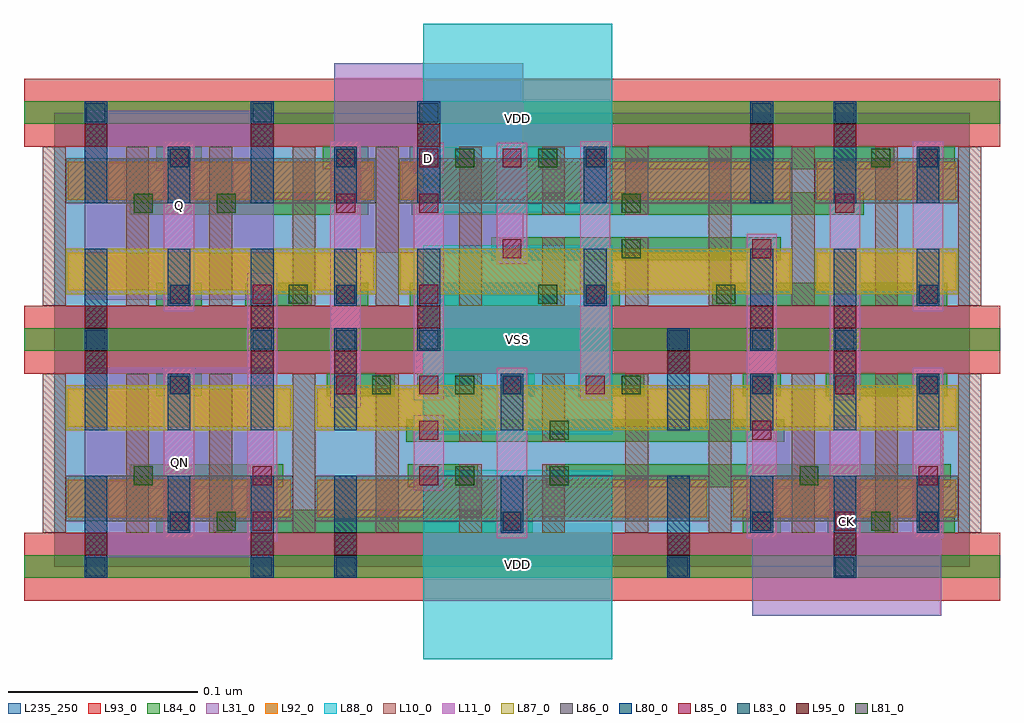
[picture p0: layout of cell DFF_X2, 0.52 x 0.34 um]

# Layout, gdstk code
import gdstk
lib = gdstk.Library(unit=1e-6, precision=1e-09)
def R(c, l, rs):  # rectangles x0, y0, x1, y1
    for r in rs: c.add(gdstk.rectangle(r[:2], r[2:], *l))
def A(c, l, x, y, w, h, nx, ny, dx, dy):  # array of equal rectangles
    R(c, l, [(x+i*dx, y+j*dy, x+i*dx+w, y+j*dy+h) for i in range(nx) for j in range(ny)])
L10_0 = (10, 0)
L11_0 = (11, 0)
L31_0 = (31, 0)
L80_0 = (80, 0)
L81_0 = (81, 0)
L83_0 = (83, 0)
L84_0 = (84, 0)
L85_0 = (85, 0)
L86_0 = (86, 0)
L87_0 = (87, 0)
L88_0 = (88, 0)
L92_0 = (92, 0)
L93_0 = (93, 0)
L95_0 = (95, 0)
L235_250 = (235, 250)

dff_x2 = lib.new_cell('DFF_X2')
A(dff_x2, L10_0, -0.006, 0.018, 0.012, 0.084, 5, 1, 0.044, 0)
A(dff_x2, L10_0, 0.302, 0.018, 0.012, 0.084, 5, 1, 0.044, 0)
A(dff_x2, L10_0, -0.006, 0.138, 0.012, 0.084, 6, 1, 0.044, 0)
A(dff_x2, L10_0, 0.346, 0.138, 0.012, 0.084, 4, 1, 0.044, 0)
R(dff_x2, L10_0, [(0.214,0.018,0.226,0.054), (0.258,0.018,0.27,0.054), (0.214,0.066,0.226,0.102), (0.258,0.066,0.27,0.102), (0.258,0.138,0.27,0.174), (0.302,0.138,0.314,0.174), (0.258,0.186,0.27,0.222), (0.302,0.186,0.314,0.222)])
R(dff_x2, L11_0, [(0.102,0.013,0.118,0.155), (0.058,0.015,0.074,0.105), (0.234,0.015,0.25,0.105), (0.366,0.015,0.382,0.176), (0.41,0.015,0.426,0.08), (0.454,0.015,0.47,0.105), (0.19,0.04,0.206,0.08), (0.146,0.084,0.162,0.225), (0.19,0.088,0.206,0.2), (0.278,0.088,0.294,0.225), (0.41,0.088,0.426,0.2), (0.058,0.135,0.074,0.225), (0.454,0.135,0.47,0.225), (0.234,0.16,0.25,0.224), (0.19,0.208,0.206,0.224)])
R(dff_x2, L31_0, [(0.369,-0.026,0.469,0.074), (0.016,0.005,0.116,0.105), (0.016,0.141,0.116,0.241), (0.148,0.166,0.248,0.266)])
A(dff_x2, L80_0, 0.016, 0.192, 0.012, 0.054, 3, 1, 0.088, 0)
R(dff_x2, L80_0, [(0.016,-0.006,0.028,0.048), (0.104,-0.006,0.116,0.048), (0.148,-0.006,0.16,0.048), (0.324,-0.006,0.336,0.048), (0.412,-0.006,0.424,0.048), (0.06,0.018,0.072,0.048), (0.236,0.018,0.248,0.048), (0.368,0.018,0.38,0.048), (0.456,0.018,0.468,0.048), (0.016,0.072,0.028,0.168), (0.06,0.072,0.072,0.102), (0.104,0.072,0.116,0.168), (0.148,0.072,0.16,0.126), (0.236,0.072,0.248,0.102), (0.324,0.072,0.336,0.126), (0.368,0.072,0.38,0.102), (0.412,0.072,0.424,0.168), (0.456,0.072,0.468,0.102), (0.192,0.114,0.204,0.168), (0.368,0.114,0.38,0.168), (0.06,0.138,0.072,0.168), (0.148,0.138,0.16,0.168), (0.28,0.138,0.292,0.168), (0.456,0.138,0.468,0.168), (0.06,0.192,0.072,0.222), (0.148,0.192,0.16,0.222), (0.28,0.192,0.292,0.222), (0.368,0.192,0.38,0.246), (0.412,0.192,0.424,0.246), (0.456,0.192,0.468,0.222)])
R(dff_x2, L81_0, [(0.086,0.019,0.096,0.029), (0.432,0.019,0.442,0.029), (0.042,0.043,0.052,0.053), (0.212,0.043,0.222,0.053), (0.262,0.043,0.272,0.053), (0.394,0.043,0.404,0.053), (0.262,0.067,0.272,0.077), (0.168,0.091,0.178,0.101), (0.212,0.091,0.222,0.101), (0.3,0.091,0.31,0.101), (0.124,0.139,0.134,0.149), (0.256,0.139,0.266,0.149), (0.35,0.139,0.36,0.149), (0.3,0.163,0.31,0.173), (0.042,0.187,0.052,0.197), (0.086,0.187,0.096,0.197), (0.3,0.187,0.31,0.197), (0.212,0.211,0.222,0.221), (0.256,0.211,0.266,0.221), (0.432,0.211,0.442,0.221)])
A(dff_x2, L83_0, 0.105, 0.115, 0.01, 0.01, 3, 1, 0.044, 0)
A(dff_x2, L83_0, 0.325, 0.115, 0.01, 0.01, 3, 1, 0.044, 0)
A(dff_x2, L83_0, 0.017, 0.235, 0.01, 0.01, 3, 1, 0.088, 0)
R(dff_x2, L83_0, [(0.017,-0.005,0.027,0.005), (0.105,-0.005,0.115,0.005), (0.149,-0.005,0.159,0.005), (0.325,-0.005,0.335,0.005), (0.413,-0.005,0.423,0.005), (0.061,0.019,0.071,0.029), (0.237,0.019,0.247,0.029), (0.369,0.019,0.379,0.029), (0.457,0.019,0.467,0.029), (0.061,0.091,0.071,0.101), (0.237,0.091,0.247,0.101), (0.369,0.091,0.379,0.101), (0.457,0.091,0.467,0.101), (0.017,0.115,0.027,0.125), (0.061,0.139,0.071,0.149), (0.149,0.139,0.159,0.149), (0.281,0.139,0.291,0.149), (0.457,0.139,0.467,0.149), (0.061,0.211,0.071,0.221), (0.149,0.211,0.159,0.221), (0.281,0.211,0.291,0.221), (0.457,0.211,0.467,0.221), (0.369,0.235,0.379,0.245), (0.413,0.235,0.423,0.245)])
A(dff_x2, L84_0, -0.016, -0.006, 0.516, 0.012, 1, 3, 0, 0.12)
R(dff_x2, L84_0, [(0.054,0.018,0.072,0.03), (0.084,0.018,0.253,0.03), (0.364,0.018,0.384,0.03), (0.409,0.018,0.444,0.03), (0.456,0.018,0.476,0.03), (0.04,0.042,0.121,0.054), (0.187,0.042,0.224,0.054), (0.26,0.042,0.474,0.054), (0.186,0.066,0.386,0.078), (0.054,0.09,0.078,0.102), (0.144,0.09,0.18,0.102), (0.192,0.09,0.224,0.102), (0.236,0.09,0.254,0.102), (0.277,0.09,0.312,0.102), (0.364,0.09,0.384,0.102), (0.408,0.09,0.472,0.102), (0.054,0.138,0.078,0.15), (0.101,0.138,0.136,0.15), (0.148,0.138,0.166,0.15), (0.188,0.138,0.268,0.15), (0.28,0.138,0.299,0.15), (0.348,0.138,0.472,0.15), (0.231,0.162,0.384,0.174), (0.04,0.186,0.166,0.198), (0.189,0.186,0.428,0.198), (0.054,0.21,0.078,0.222), (0.142,0.21,0.166,0.222), (0.188,0.21,0.224,0.222), (0.236,0.21,0.268,0.222), (0.28,0.21,0.444,0.222), (0.456,0.21,0.476,0.222)])
A(dff_x2, L85_0, 0.105, 0.019, 0.01, 0.01, 3, 1, 0.132, 0)
A(dff_x2, L85_0, 0.149, 0.091, 0.01, 0.01, 4, 2, 0.044, 0.12)
A(dff_x2, L85_0, 0.369, 0.091, 0.01, 0.01, 3, 1, 0.044, 0)
A(dff_x2, L85_0, 0.061, 0.139, 0.01, 0.01, 4, 1, 0.044, 0)
R(dff_x2, L85_0, [(0.061,0.019,0.071,0.029), (0.413,0.019,0.423,0.029), (0.457,0.019,0.467,0.029), (0.105,0.043,0.115,0.053), (0.193,0.043,0.203,0.053), (0.457,0.043,0.467,0.053), (0.193,0.067,0.203,0.077), (0.369,0.067,0.379,0.077), (0.061,0.091,0.071,0.101), (0.281,0.139,0.291,0.149), (0.457,0.139,0.467,0.149), (0.237,0.163,0.247,0.173), (0.369,0.163,0.379,0.173), (0.149,0.187,0.159,0.197), (0.193,0.187,0.203,0.197), (0.413,0.187,0.423,0.197), (0.061,0.211,0.071,0.221), (0.457,0.211,0.467,0.221)])
R(dff_x2, L86_0, [(0.006,0.024,0.126,0.048), (0.138,0.024,0.346,0.048), (0.358,0.024,0.478,0.048), (0.006,0.192,0.17,0.216), (0.182,0.192,0.39,0.216), (0.402,0.192,0.478,0.216)])
R(dff_x2, L87_0, [(0.006,0.072,0.126,0.096), (0.138,0.072,0.346,0.096), (0.358,0.072,0.478,0.096), (0.006,0.144,0.17,0.168), (0.182,0.144,0.39,0.168), (0.402,0.144,0.478,0.168)])
R(dff_x2, L88_0, [(0.195,-0.049,0.295,0.051), (0.195,0.07,0.295,0.17), (0.195,0.187,0.295,0.287)])
R(dff_x2, L92_0, [(0.007,0.026,0.125,0.046), (0.139,0.026,0.345,0.046), (0.359,0.026,0.477,0.046), (0.007,0.074,0.125,0.094), (0.139,0.074,0.345,0.094), (0.359,0.074,0.477,0.094), (0.007,0.146,0.169,0.166), (0.183,0.146,0.389,0.166), (0.403,0.146,0.477,0.166), (0.007,0.194,0.169,0.214), (0.183,0.194,0.389,0.214), (0.403,0.194,0.477,0.214)])
A(dff_x2, L93_0, -0.016, -0.018, 0.516, 0.036, 1, 3, 0, 0.12)
A(dff_x2, L95_0, 0.016, 0.126, 0.012, 0.012, 3, 2, 0.088, 0.096)
R(dff_x2, L95_0, [(0.016,0.006,0.028,0.018), (0.104,0.006,0.116,0.018), (0.148,0.006,0.16,0.018), (0.324,0.006,0.336,0.018), (0.412,0.006,0.424,0.018), (0.016,0.102,0.028,0.114), (0.104,0.102,0.116,0.114), (0.148,0.102,0.16,0.114), (0.324,0.102,0.336,0.114), (0.412,0.102,0.424,0.114), (0.368,0.126,0.38,0.138), (0.412,0.126,0.424,0.138), (0.368,0.222,0.38,0.234), (0.412,0.222,0.424,0.234)])
R(dff_x2, L235_250, [(0,0,0.484,0.24)])
dff_x2.add(gdstk.Label('VSS', (0.245,0.12), layer=88, texttype=0))
dff_x2.add(gdstk.Label('VDD', (0.245,0.001), layer=88, texttype=0))
dff_x2.add(gdstk.Label('VDD', (0.245,0.237), layer=88, texttype=0))
dff_x2.add(gdstk.Label('D', (0.198,0.216), layer=31, texttype=0))
dff_x2.add(gdstk.Label('Q', (0.066,0.191), layer=31, texttype=0))
dff_x2.add(gdstk.Label('QN', (0.066,0.055), layer=31, texttype=0))
dff_x2.add(gdstk.Label('CK', (0.419,0.024), layer=31, texttype=0))

lib.write_gds('DFF_X2.gds')
